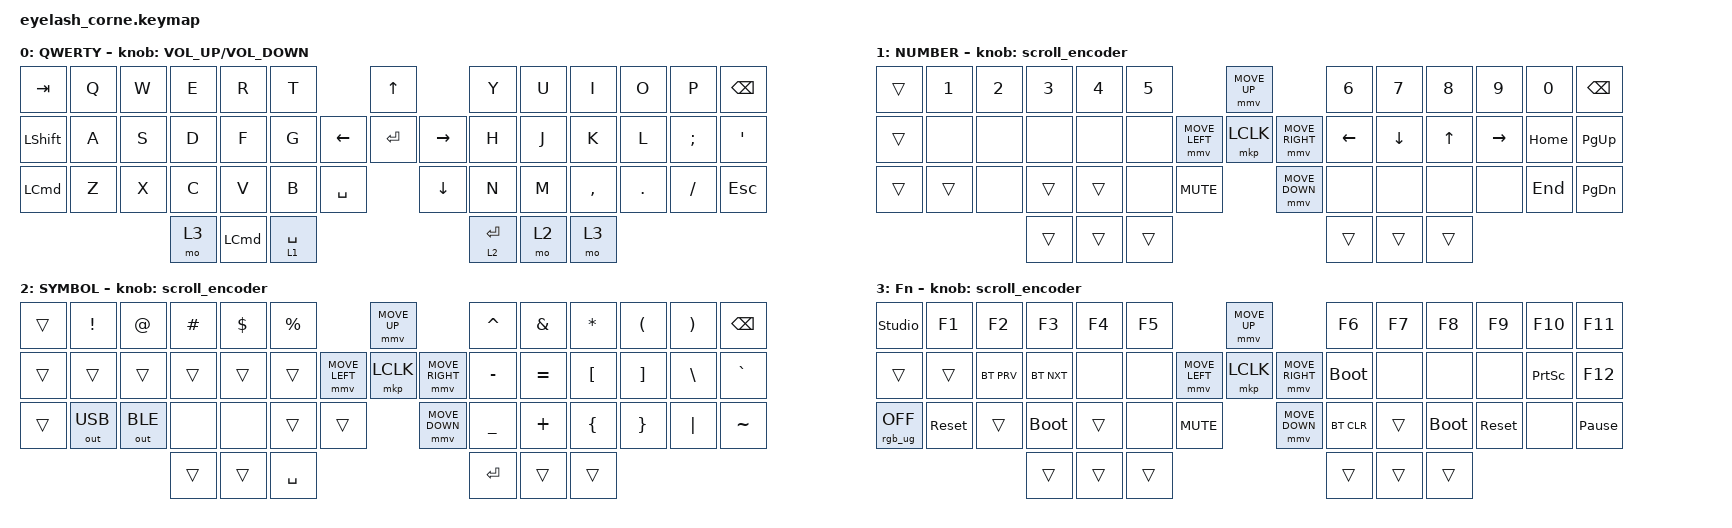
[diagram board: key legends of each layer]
#include <dt-bindings/zmk/mouse.h>
#include <input/processors.dtsi>
#include <behaviors.dtsi>
#include <dt-bindings/zmk/bt.h>
#include <dt-bindings/zmk/keys.h>
#include <dt-bindings/zmk/outputs.h>
#include <dt-bindings/zmk/pointing.h>
#include <dt-bindings/zmk/pointing.h>
#include <dt-bindings/zmk/pointing.h>
#include <dt-bindings/zmk/rgb.h>

/*

   &mmv_input_listener {
       input-processors = <&zip_xy_scaler 2 1>;
   };

   &msc_input_listener {
       input-processors = <&zip_xy_scaler 2 1>;
   };

 */

#define ZMK_MOUSE_DEFAULT_MOVE_VAL 1200  // 600
#define ZMK_MOUSE_DEFAULT_SCRL_VAL 20    // 10

/ {
    behaviors {
        td0: td0 {
            compatible = "zmk,behavior-tap-dance";
            display-name = "Shift/Caps Lock Tap Dance";
            #binding-cells = <0>;
            bindings = <&kp LEFT_SHIFT>, <&kp CAPS>;
        };
    };

    rgb_encoder: rgb_encoder {
        compatible = "zmk,behavior-sensor-rotate";
        #sensor-binding-cells = <0>;
        bindings = <&rgb_ug RGB_BRI>, <&rgb_ug RGB_BRD>;
    };

    scroll_encoder: scroll_encoder {
        compatible = "zmk,behavior-sensor-rotate";
        #sensor-binding-cells = <0>;
        bindings = <&msc SCRL_DOWN>, <&msc SCRL_UP>;

        tap-ms = <30>;
    };

    keymap {
        compatible = "zmk,keymap";

        default_layer {
            display-name = "QWERTY";
            bindings = <
&kp TAB           &kp Q  &kp W  &kp E  &kp R             &kp T                               &kp UP                &kp Y        &kp U  &kp I      &kp O    &kp P     &kp BSPC
&kp LEFT_SHIFT    &kp A  &kp S  &kp D  &kp F             &kp G                     &kp LEFT  &kp ENTER  &kp RIGHT  &kp H        &kp J  &kp K      &kp L    &kp SEMI  &kp SQT
&kp LEFT_COMMAND  &kp Z  &kp X  &kp C  &kp V             &kp B        &kp SPACE              &kp DOWN              &kp N        &kp M  &kp COMMA  &kp DOT  &kp FSLH  &kp ESC
                                &mo 3  &kp LEFT_COMMAND  &lt 1 SPACE                                               &lt 2 ENTER  &mo 2  &mo 3
            >;

            sensor-bindings = <&inc_dec_kp C_VOLUME_UP C_VOLUME_DOWN>;
        };

        lower_layer {
            display-name = "NUMBER";
            bindings = <
&trans  &kp N1  &kp N2  &kp N3  &kp N4  &kp N5                                &mmv MOVE_UP                     &kp N6    &kp N7    &kp N8  &kp N9     &kp N0    &kp BSPC
&trans  &none   &none   &none   &none   &none                 &mmv MOVE_LEFT  &mkp LCLK       &mmv MOVE_RIGHT  &kp LEFT  &kp DOWN  &kp UP  &kp RIGHT  &kp HOME  &kp PG_UP
&trans  &trans  &none   &trans  &trans  &none   &kp C_MUTE                    &mmv MOVE_DOWN                   &none     &none     &none   &none      &kp END   &kp PG_DN
                        &trans  &trans  &trans                                                                 &trans    &trans    &trans
            >;

            sensor-bindings = <&scroll_encoder>;
        };

        raise_layer {
            display-name = "SYMBOL";
            bindings = <
&trans  &kp EXCL      &kp AT        &kp HASH  &kp DLLR  &kp PRCNT                            &mmv MOVE_UP                     &kp CARET  &kp AMPS   &kp ASTRK  &kp LPAR  &kp RPAR  &kp BSPC
&trans  &trans        &trans        &trans    &trans    &trans               &mmv MOVE_LEFT  &mkp LCLK       &mmv MOVE_RIGHT  &kp MINUS  &kp EQUAL  &kp LBKT   &kp RBKT  &kp BSLH  &kp GRAVE
&trans  &out OUT_USB  &out OUT_BLE  &none     &none     &trans     &trans                    &mmv MOVE_DOWN                   &kp UNDER  &kp PLUS   &kp LBRC   &kp RBRC  &kp PIPE  &kp TILDE
                                    &trans    &trans    &kp SPACE                                                             &kp RET    &trans     &trans
            >;

            sensor-bindings = <&scroll_encoder>;
        };

        layer_3 {
            display-name = "Fn";
            bindings = <
&studio_unlock   &kp F1      &kp F2      &kp F3       &kp F4  &kp F5                                &mmv MOVE_UP                     &kp F6       &kp F7  &kp F8       &kp F9      &kp F10          &kp F11
&trans           &trans      &bt BT_PRV  &bt BT_NXT   &none   &none                 &mmv MOVE_LEFT  &mkp LCLK       &mmv MOVE_RIGHT  &bootloader  &none   &none        &none       &kp PRINTSCREEN  &kp F12
&rgb_ug RGB_OFF  &sys_reset  &trans      &bootloader  &trans  &none   &kp C_MUTE                    &mmv MOVE_DOWN                   &bt BT_CLR   &trans  &bootloader  &sys_reset  &none            &kp PAUSE_BREAK
                                         &trans       &trans  &trans                                                                 &trans       &trans  &trans
            >;

            sensor-bindings = <&scroll_encoder>;
        };
    };
};
